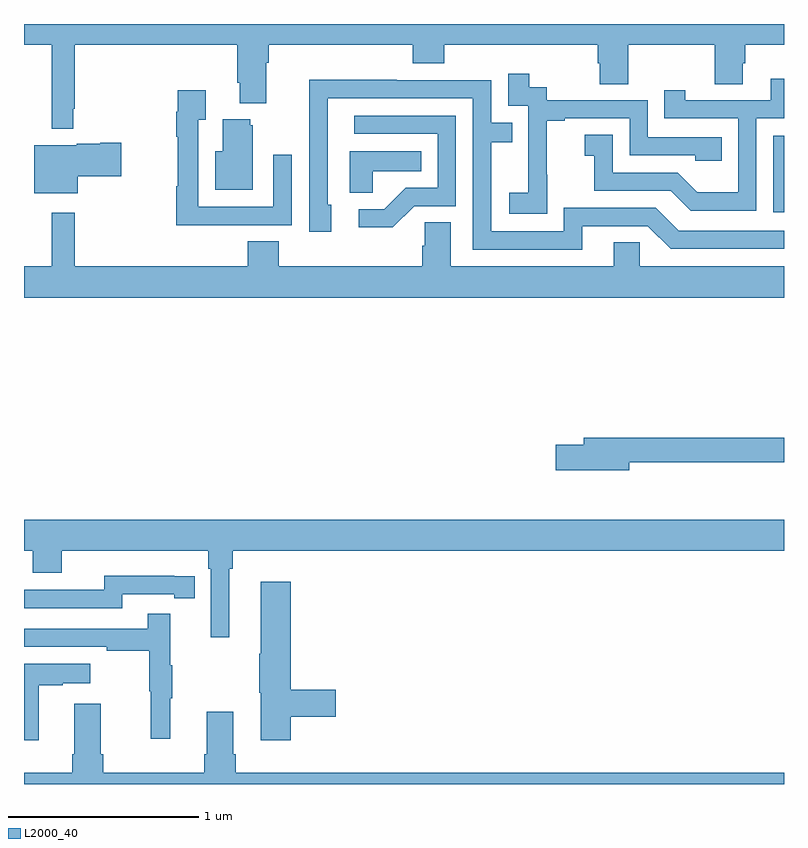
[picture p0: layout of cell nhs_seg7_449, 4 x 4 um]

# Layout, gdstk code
import gdstk
lib = gdstk.Library(unit=1e-6, precision=1e-09)
def R(c, l, rs):  # rectangles x0, y0, x1, y1
    for r in rs: c.add(gdstk.rectangle(r[:2], r[2:], *l))
def P(c, l, *ps):  # polygons
    for p in ps: c.add(gdstk.Polygon(p, *l))
L2000_40 = (2000, 40)

nhs_seg7_449 = lib.new_cell('nhs_seg7_449')
R(nhs_seg7_449, L2000_40, [(148.944,1057.008,149,1057.413)])
P(nhs_seg7_449, L2000_40, [(145.259,1057.555),(145.267,1057.555),(145.267,1057.892),(146.123,1057.892),(146.123,1057.69),(146.135,1057.69),(146.135,1057.583),(146.275,1057.583),(146.275,1057.796),(146.288,1057.796),(146.288,1057.892),(147.047,1057.892),(147.047,1057.793),(147.212,1057.793),(147.212,1057.892),(148.019,1057.892),(148.019,1057.794),(148.031,1057.794),(148.031,1057.684),(148.179,1057.684),(148.179,1057.892),(148.636,1057.892),(148.636,1057.684),(148.783,1057.684),(148.783,1057.794),(148.796,1057.794),(148.796,1057.892),(149,1057.892),(149,1058),(145,1058),(145,1057.892),(145.145,1057.892),(145.145,1057.448),(145.259,1057.448)],
  [(147.753,1057.207),(147.752,1057.207),(147.752,1057.491),(147.847,1057.491),(147.847,1057.503),(148.188,1057.503),(148.188,1057.308),(148.533,1057.308),(148.533,1057.281),(148.673,1057.281),(148.673,1057.404),(148.284,1057.404),(148.284,1057.599),(147.75,1057.599),(147.75,1057.668),(147.658,1057.668),(147.658,1057.738),(147.549,1057.738),(147.549,1057.569),(147.654,1057.569),(147.654,1057.34),(147.653,1057.34),(147.653,1057.111),(147.555,1057.111),(147.555,1057.001),(147.753,1057.001)],
  [(148.854,1057.503),(149,1057.503),(149,1057.711),(148.931,1057.711),(148.931,1057.599),(148.48,1057.599),(148.48,1057.651),(148.369,1057.651),(148.369,1057.503),(148.758,1057.503),(148.758,1057.114),(148.544,1057.114),(148.44,1057.218),(148.098,1057.218),(148.098,1057.417),(147.951,1057.417),(147.951,1057.307),(148,1057.307),(148,1057.122),(148.403,1057.122),(148.508,1057.017),(148.854,1057.017)],
  [(147.937,1056.936),(148.284,1056.936),(148.404,1056.816),(149,1056.816),(149,1056.912),(148.446,1056.912),(148.326,1057.032),(147.84,1057.032),(147.84,1056.909),(147.459,1056.909),(147.459,1057.378),(147.569,1057.378),(147.569,1057.479),(147.459,1057.479),(147.459,1057.704),(146.963,1057.704),(146.963,1057.706),(146.5,1057.706),(146.5,1057.399),(146.502,1057.399),(146.502,1056.906),(146.617,1056.906),(146.617,1057.05),(146.598,1057.05),(146.598,1057.608),(147.363,1057.608),(147.363,1056.813),(147.937,1056.813)],
  [(146.093,1056.942),(146.409,1056.942),(146.409,1057.312),(146.313,1057.312),(146.313,1057.038),(145.917,1057.038),(145.917,1057.495),(145.957,1057.495),(145.957,1057.651),(145.809,1057.651),(145.809,1057.538),(145.801,1057.538),(145.801,1057.406),(145.809,1057.406),(145.809,1057.145),(145.801,1057.145),(145.801,1056.941),(146.093,1056.941)],
  [(147.054,1057.041),(147.273,1057.041),(147.273,1057.518),(146.739,1057.518),(146.739,1057.422),(147.177,1057.422),(147.177,1057.137),(147.008,1057.137),(146.897,1057.026),(146.763,1057.026),(146.763,1056.929),(146.941,1056.929)],
  [(146.203,1057.467),(146.192,1057.467),(146.192,1057.498),(146.045,1057.498),(146.045,1057.33),(146.006,1057.33),(146.006,1057.127),(146.203,1057.127)],
  [(145.282,1057.198),(145.513,1057.198),(145.513,1057.376),(145.4,1057.376),(145.4,1057.369),(145.278,1057.369),(145.278,1057.363),(145.055,1057.363),(145.055,1057.109),(145.282,1057.109)],
  [(146.835,1057.226),(147.092,1057.226),(147.092,1057.33),(146.714,1057.33),(146.714,1057.111),(146.835,1057.111)],
  [(149,1056.724),(148.242,1056.724),(148.242,1056.851),(148.103,1056.851),(148.103,1056.724),(147.247,1056.724),(147.247,1056.956),(147.108,1056.956),(147.108,1056.833),(147.095,1056.833),(147.095,1056.724),(146.342,1056.724),(146.342,1056.857),(146.177,1056.857),(146.177,1056.724),(145.267,1056.724),(145.267,1057.006),(145.145,1057.006),(145.145,1056.724),(145,1056.724),(145,1056.56),(149,1056.56)],
  [(148.186,1055.694),(149,1055.694),(149,1055.822),(147.947,1055.822),(147.947,1055.786),(147.798,1055.786),(147.798,1055.651),(148.186,1055.651)],
  [(146.08,1055.132),(146.099,1055.132),(146.099,1055.228),(149,1055.228),(149,1055.392),(145,1055.392),(145,1055.228),(145.046,1055.228),(145.046,1055.111),(145.198,1055.111),(145.198,1055.228),(145.97,1055.228),(145.97,1055.132),(145.983,1055.132),(145.983,1054.773),(146.08,1054.773)],
  [(145.518,1054.998),(145.79,1054.998),(145.79,1054.978),(145.898,1054.978),(145.898,1055.094),(145.79,1055.094),(145.79,1055.095),(145.422,1055.095),(145.422,1055.022),(145,1055.022),(145,1054.926),(145.518,1054.926)],
  [(146.405,1054.354),(146.641,1054.354),(146.641,1054.496),(146.405,1054.496),(146.405,1055.065),(146.246,1055.065),(146.246,1054.685),(146.239,1054.685),(146.239,1054.479),(146.246,1054.479),(146.246,1054.23),(146.405,1054.23)],
  [(145.769,1054.451),(145.78,1054.451),(145.78,1054.625),(145.769,1054.625),(145.769,1054.897),(145.651,1054.897),(145.651,1054.818),(145,1054.818),(145,1054.722),(145.435,1054.722),(145.435,1054.702),(145.659,1054.702),(145.659,1054.488),(145.666,1054.488),(145.666,1054.239),(145.769,1054.239)],
  [(145.078,1054.519),(145.205,1054.519),(145.205,1054.529),(145.348,1054.529),(145.348,1054.633),(145,1054.633),(145,1054.23),(145.078,1054.23)],
  [(149,1054.06),(146.114,1054.06),(146.114,1054.156),(146.101,1054.156),(146.101,1054.381),(145.961,1054.381),(145.961,1054.156),(145.949,1054.156),(145.949,1054.06),(145.418,1054.06),(145.418,1054.156),(145.405,1054.156),(145.405,1054.423),(145.265,1054.423),(145.265,1054.156),(145.253,1054.156),(145.253,1054.06),(145,1054.06),(145,1054),(149,1054)])

lib.write_gds('nhs_seg7_449.gds')
